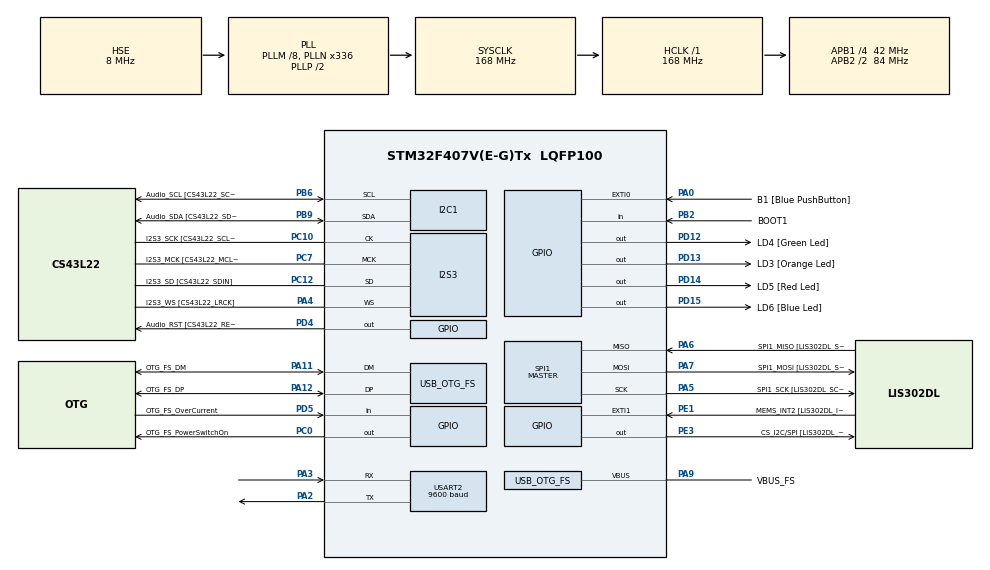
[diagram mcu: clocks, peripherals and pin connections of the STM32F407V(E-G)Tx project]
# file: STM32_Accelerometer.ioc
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I2S3.AudioFreq-Half_Duplex_Master=I2S_AUDIOFREQ_96K
I2S3.ErrorAudioFreq=-2.34 %
I2S3.ErrorAudioFreq-Half_Duplex_Master=0.8 %
I2S3.FullDuplexMode=I2S_FULLDUPLEXMODE_DISABLE
I2S3.Instance=SPI$Index
I2S3.RealAudioFreq=93.75 KHz
I2S3.RealAudioFreq-Half_Duplex_Master=96.774 KHz
I2S3.VirtualMode=I2S_MODE_MASTER
Mcu.Family=STM32F4
Mcu.Name=STM32F407V(E-G)Tx
Mcu.Package=LQFP100
NVIC.OTG_FS_IRQn=true\:0\:0\:false\:false\:true\:true\:true
NVIC.PriorityGroup=NVIC_PRIORITYGROUP_0
NVIC.USART2_IRQn=true\:0\:0\:false\:false\:true\:true\:true
PA0-WKUP.GPIO_Label=B1 [Blue PushButton]
PA0-WKUP.GPIO_ModeDefaultEXTI=GPIO_MODE_EVT_RISING
PA0-WKUP.GPIO_PuPd=GPIO_NOPULL
PA0-WKUP.Signal=GPXTI0
PA10.GPIO_Label=OTG_FS_ID
PA10.GPIO_Mode=GPIO_MODE_AF_PP
PA10.GPIO_PuPd=GPIO_NOPULL
PA10.GPIO_Speed=GPIO_SPEED_FREQ_LOW
PA10.Signal=USB_OTG_FS_ID
PA11.GPIO_Label=OTG_FS_DM
PA11.GPIO_Mode=GPIO_MODE_AF_PP
PA11.GPIO_PuPd=GPIO_NOPULL
PA11.GPIO_Speed=GPIO_SPEED_FREQ_LOW
PA11.Mode=Device_Only
PA11.Signal=USB_OTG_FS_DM
PA12.GPIO_Label=OTG_FS_DP
PA12.GPIO_Mode=GPIO_MODE_AF_PP
PA12.GPIO_PuPd=GPIO_NOPULL
PA12.GPIO_Speed=GPIO_SPEED_FREQ_LOW
PA12.Mode=Device_Only
PA12.Signal=USB_OTG_FS_DP
PA13.GPIO_Label=SWDIO
PA13.Mode=Serial_Wire
PA13.Signal=SYS_JTMS-SWDIO
PA14.GPIO_Label=SWCLK
PA14.Mode=Serial_Wire
PA14.Signal=SYS_JTCK-SWCLK
PA2.Mode=Asynchronous
PA2.Signal=USART2_TX
PA3.Mode=Asynchronous
PA3.Signal=USART2_RX
PA4.GPIO_Label=I2S3_WS [CS43L22_LRCK]
PA4.GPIO_Mode=GPIO_MODE_AF_PP
PA4.GPIO_PuPd=GPIO_NOPULL
PA4.GPIO_Speed=GPIO_SPEED_FREQ_LOW
PA4.Mode=Half_Duplex_Master
PA4.Signal=I2S3_WS
PA5.GPIO_Label=SPI1_SCK [LIS302DL_SCL/SPC]
PA5.GPIO_Mode=GPIO_MODE_AF_PP
PA5.GPIO_PuPd=GPIO_NOPULL
PA5.GPIO_Speed=GPIO_SPEED_FREQ_LOW
PA5.Mode=Full_Duplex_Master
PA5.Signal=SPI1_SCK
PA6.GPIO_Label=SPI1_MISO [LIS302DL_SDO]
PA6.GPIO_Mode=GPIO_MODE_AF_PP
PA6.GPIO_PuPd=GPIO_NOPULL
PA6.GPIO_Speed=GPIO_SPEED_FREQ_LOW
PA6.Mode=Full_Duplex_Master
PA6.Signal=SPI1_MISO
PA7.GPIO_Label=SPI1_MOSI [LIS302DL_SDA/SDI/SDO]
PA7.GPIO_Mode=GPIO_MODE_AF_PP
PA7.GPIO_PuPd=GPIO_NOPULL
PA7.GPIO_Speed=GPIO_SPEED_FREQ_LOW
PA7.Mode=Full_Duplex_Master
PA7.Signal=SPI1_MOSI
PA9.GPIO_Label=VBUS_FS
PA9.GPIO_Mode=GPIO_MODE_INPUT
PA9.GPIO_PuPd=GPIO_NOPULL
PA9.Mode=Activate_VBUS
PA9.Signal=USB_OTG_FS_VBUS
PB10.GPIO_Label=CLK_IN [MP45DT02_CLK]
PB10.GPIO_Mode=GPIO_MODE_AF_PP
PB10.GPIO_PuPd=GPIO_NOPULL
PB10.GPIO_Speed=GPIO_SPEED_FREQ_LOW
PB10.Signal=I2S2_CK
PB2.GPIO_Label=BOOT1
PB2.GPIO_Mode=GPIO_MODE_INPUT
PB2.GPIO_PuPd=GPIO_NOPULL
PB2.Signal=GPIO_Input
PB3.GPIO_Label=SWO
PB3.Signal=SYS_JTDO-SWO
PB6.GPIO_Label=Audio_SCL [CS43L22_SCL]
PB6.GPIO_Mode=GPIO_MODE_AF_OD
PB6.GPIO_Pu=GPIO_PULLUP
PB6.GPIO_PuPd=GPIO_NOPULL
PB6.GPIO_Speed=GPIO_SPEED_FREQ_LOW
PB6.Mode=I2C
PB6.Signal=I2C1_SCL
PB9.GPIO_Label=Audio_SDA [CS43L22_SDA]
PB9.GPIO_Mode=GPIO_MODE_AF_OD
PB9.GPIO_Pu=GPIO_PULLUP
PB9.GPIO_PuPd=GPIO_NOPULL
PB9.GPIO_Speed=GPIO_SPEED_FREQ_LOW
PB9.Mode=I2C
PB9.Signal=I2C1_SDA
PC0.GPIO_Label=OTG_FS_PowerSwitchOn
PC0.GPIO_PuPd=GPIO_NOPULL
PC0.GPIO_Speed=GPIO_SPEED_FREQ_LOW
PC0.PinState=GPIO_PIN_SET
PC0.Signal=GPIO_Output
PC10.GPIO_Label=I2S3_SCK [CS43L22_SCLK]
PC10.GPIO_Mode=GPIO_MODE_AF_PP
PC10.GPIO_PuPd=GPIO_NOPULL
PC10.GPIO_Speed=GPIO_SPEED_FREQ_LOW
PC10.Mode=Half_Duplex_Master
PC10.Signal=I2S3_CK
PC12.GPIO_Label=I2S3_SD [CS43L22_SDIN]
PC12.GPIO_Mode=GPIO_MODE_AF_PP
PC12.GPIO_PuPd=GPIO_NOPULL
PC12.GPIO_Speed=GPIO_SPEED_FREQ_LOW
PC12.Mode=Half_Duplex_Master
PC12.Signal=I2S3_SD
PC14-OSC32_IN.GPIO_Label=PC14-OSC32_IN
PC14-OSC32_IN.Mode=LSE-External-Oscillator
PC14-OSC32_IN.Signal=RCC_OSC32_IN
PC15-OSC32_OUT.GPIO_Label=PC15-OSC32_OUT
PC15-OSC32_OUT.Mode=LSE-External-Oscillator
PC15-OSC32_OUT.Signal=RCC_OSC32_OUT
PC3.GPIO_Label=PDM_OUT [MP45DT02_DOUT]
PC3.GPIO_Mode=GPIO_MODE_AF_PP
PC3.GPIO_PuPd=GPIO_NOPULL
PC3.GPIO_Speed=GPIO_SPEED_FREQ_LOW
PC3.Signal=I2S2_SD
PC7.GPIO_Label=I2S3_MCK [CS43L22_MCLK]
PC7.GPIO_Mode=GPIO_MODE_AF_PP
PC7.GPIO_PuPd=GPIO_NOPULL
PC7.GPIO_Speed=GPIO_SPEED_FREQ_LOW
PC7.Mode=Master_Clock_Activated
PC7.Signal=I2S3_MCK
PD12.GPIO_Label=LD4 [Green Led]
PD12.GPIO_PuPd=GPIO_NOPULL
PD12.GPIO_Speed=GPIO_SPEED_FREQ_LOW
PD12.Signal=GPIO_Output
PD13.GPIO_Label=LD3 [Orange Led]
PD13.GPIO_PuPd=GPIO_NOPULL
PD13.GPIO_Speed=GPIO_SPEED_FREQ_LOW
PD13.Signal=GPIO_Output
PD14.GPIO_Label=LD5 [Red Led]
PD14.GPIO_PuPd=GPIO_NOPULL
PD14.GPIO_Speed=GPIO_SPEED_FREQ_LOW
PD14.Signal=GPIO_Output
PD15.GPIO_Label=LD6 [Blue Led]
PD15.GPIO_PuPd=GPIO_NOPULL
PD15.GPIO_Speed=GPIO_SPEED_FREQ_LOW
PD15.Signal=GPIO_Output
PD4.GPIO_Label=Audio_RST [CS43L22_RESET]
PD4.GPIO_PuPd=GPIO_NOPULL
PD4.GPIO_Speed=GPIO_SPEED_FREQ_LOW
PD4.Signal=GPIO_Output
PD5.GPIO_Label=OTG_FS_OverCurrent
PD5.GPIO_Mode=GPIO_MODE_INPUT
PD5.GPIO_PuPd=GPIO_NOPULL
PD5.Signal=GPIO_Input
PE1.GPIO_Label=MEMS_INT2 [LIS302DL_INT2]
PE1.GPIO_ModeDefaultEXTI=GPIO_MODE_EVT_RISING
PE1.GPIO_PuPd=GPIO_NOPULL
PE1.Signal=GPXTI1
PE3.GPIO_Label=CS_I2C/SPI [LIS302DL_CS_I2C/SPI]
PE3.GPIO_PuPd=GPIO_NOPULL
PE3.GPIO_Speed=GPIO_SPEED_FREQ_LOW
PE3.Signal=GPIO_Output
PH0-OSC_IN.GPIO_Label=PH0-OSC_IN
PH0-OSC_IN.Mode=HSE-External-Oscillator
PH0-OSC_IN.Signal=RCC_OSC_IN
PH1-OSC_OUT.GPIO_Label=PH1-OSC_OUT
PH1-OSC_OUT.Mode=HSE-External-Oscillator
PH1-OSC_OUT.Signal=RCC_OSC_OUT
ProjectManager.HeapSize=0x200
ProjectManager.StackSize=0x400
ProjectManager.TargetToolchain=STM32CubeIDE
RCC.48MHZClocksFreq_Value=48000000
RCC.AHBFreq_Value=168000000
RCC.APB1CLKDivider=RCC_HCLK_DIV4
RCC.APB1Freq_Value=42000000
RCC.APB1TimFreq_Value=84000000
RCC.APB2CLKDivider=RCC_HCLK_DIV2
RCC.APB2Freq_Value=84000000
RCC.APB2TimFreq_Value=168000000
RCC.CortexFreq_Value=168000000
RCC.HCLKFreq_Value=168000000
RCC.HSE_VALUE=8000000
RCC.HSI_VALUE=16000000
RCC.PLLM=8
RCC.PLLN=336
RCC.PLLQ=7
RCC.SYSCLKFreq_VALUE=168000000
RCC.SYSCLKSource=RCC_SYSCLKSOURCE_PLLCLK
RCC.VCOOutputFreq_Value=336000000
SPI1.BaudRatePrescaler-Full_Duplex_Master=SPI_BAUDRATEPRESCALER_2
SPI1.CalculateBaudRate-Full_Duplex_Master=42.0 MBits/s
SPI1.Direction=SPI_DIRECTION_2LINES
SPI1.Mode=SPI_MODE_MASTER
SPI1.Mode-Full_Duplex_Master=SPI_MODE_MASTER
SPI1.VirtualType=VM_MASTER
USART2.BaudRate=9600
USART2.VirtualMode=VM_ASYNC
USB_DEVICE.CLASS_NAME_FS=CDC
USB_DEVICE.VirtualMode-CDC_FS=Cdc
USB_DEVICE.VirtualModeFS=Cdc_FS
USB_OTG_FS.VirtualMode=Device_Only
VP_USB_DEVICE_VS_USB_DEVICE_CDC_FS.Mode=CDC_FS
board=STM32F407G-DISC1

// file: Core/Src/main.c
/* USER CODE BEGIN Header */
/**
  ******************************************************************************
  * @file           : main.c
  * @brief          : Main program body
  ******************************************************************************
  * @attention
  *
  * <h2><center>&copy; Copyright (c) 2021 STMicroelectronics.
  * All rights reserved.</center></h2>
  *
  * This software component is licensed by ST under Ultimate Liberty license
  * SLA0044, the "License"; You may not use this file except in compliance with
  * the License. You may obtain a copy of the License at:
  *                             www.st.com/SLA0044
  *
  ******************************************************************************
  */
/* USER CODE END Header */
#include "main.h"
#include "usb_device.h"

/* USER CODE BEGIN Includes */

#include "usbd_cdc_if.h"
#include "stm32f4_discovery_accelerometer.h"

/* USER CODE END Includes */

I2C_HandleTypeDef hi2c1;

I2S_HandleTypeDef hi2s3;

SPI_HandleTypeDef hspi1;

UART_HandleTypeDef huart2;

void SystemClock_Config(void);
static void MX_GPIO_Init(void);
static void MX_I2S3_Init(void);
static void MX_SPI1_Init(void);
static void MX_I2C1_Init(void);
static void MX_USART2_UART_Init(void);

/* USER CODE BEGIN 0 */

static uint8_t rxData = 0;

void HAL_UART_RxCpltCallback(UART_HandleTypeDef *huart)
{
  if (huart == &huart2)
  {
    HAL_UART_Receive_IT(&huart2, &rxData, 1);
  }
}

static void sendChar(char c)
{
  uint16_t retries = 1000;
  while (retries)
  {
    if (CDC_Transmit_FS((uint8_t *)&c, 1) != USBD_OK)
    {
      retries--;
    }
    else
    {
      return;
    }
  }
}

#ifdef __GNUC__
int __io_putchar(int c)
#else
int fputc(int c, FILE *f)
#endif
{
  if (c == '\n') sendChar('\r');
  sendChar(c);
  return c;
}

/* USER CODE END 0 */

int main(void)
{

  /* MCU Configuration--------------------------------------------------------*/

  /* Reset of all peripherals, Initializes the Flash interface and the Systick. */
  HAL_Init();

  /* Configure the system clock */
  SystemClock_Config();

  /* Initialize all configured peripherals */
  MX_GPIO_Init();
  MX_I2S3_Init();
  MX_SPI1_Init();
  MX_USB_DEVICE_Init();
  MX_I2C1_Init();
  MX_USART2_UART_Init();
  /* USER CODE BEGIN 2 */

  int16_t xyzBuf[3] = {0};
  uint8_t txData[6] = {0}; // {X0, X1, Y0, Y1, Z0, Z1}
  HAL_StatusTypeDef status;
  uint32_t lastTimestamp = 0, now = 0;

  /* USER CODE END 2 */

  /* Infinite loop */
  /* USER CODE BEGIN WHILE */

  if (BSP_ACCELERO_Init() != ACCELERO_OK)
  {
    printf("BSP_ACCELERO_Init() ERROR!\n");
  }

  HAL_UART_Receive_IT(&huart2, &rxData, 1);

  while (1)
  {
    /* USER CODE END WHILE */

    /* USER CODE BEGIN 3 */

    if (rxData != 0)
    {
      if (rxData == 'g')
      {
        printf("Sending: x: %d, y: %d, z: %d\n", xyzBuf[0], xyzBuf[1], xyzBuf[2]);
        txData[0] = xyzBuf[0] & 0x00FF;
        txData[1] = xyzBuf[0] >> 8;
        txData[2] = xyzBuf[1] & 0x00FF;
        txData[3] = xyzBuf[1] >> 8;
        txData[4] = xyzBuf[2] & 0x00FF;
        txData[5] = xyzBuf[2] >> 8;

        status = HAL_UART_Transmit(&huart2, txData, sizeof(txData), 1000);
        printf("transmit status: %d\n", status);
      }

      rxData = 0;
    }

    BSP_ACCELERO_GetXYZ(xyzBuf);

    now = HAL_GetTick();
    if (now - lastTimestamp >= 1000)
    {
      lastTimestamp = now;
      HAL_GPIO_TogglePin(LD6_GPIO_Port, LD6_Pin);
    }
    HAL_Delay(100);
  }
  /* USER CODE END 3 */
}

void SystemClock_Config(void)
{
  RCC_OscInitTypeDef RCC_OscInitStruct = {0};
  RCC_ClkInitTypeDef RCC_ClkInitStruct = {0};

  /** Configure the main internal regulator output voltage
  */
  __HAL_RCC_PWR_CLK_ENABLE();
  __HAL_PWR_VOLTAGESCALING_CONFIG(PWR_REGULATOR_VOLTAGE_SCALE1);
  /** Initializes the RCC Oscillators according to the specified parameters
  * in the RCC_OscInitTypeDef structure.
  */
  RCC_OscInitStruct.OscillatorType = RCC_OSCILLATORTYPE_HSE;
  RCC_OscInitStruct.HSEState = RCC_HSE_ON;
  RCC_OscInitStruct.PLL.PLLState = RCC_PLL_ON;
  RCC_OscInitStruct.PLL.PLLSource = RCC_PLLSOURCE_HSE;
  RCC_OscInitStruct.PLL.PLLM = 8;
  RCC_OscInitStruct.PLL.PLLN = 336;
  RCC_OscInitStruct.PLL.PLLP = RCC_PLLP_DIV2;
  RCC_OscInitStruct.PLL.PLLQ = 7;
  if (HAL_RCC_OscConfig(&RCC_OscInitStruct) != HAL_OK)
  {
    Error_Handler();
  }
  /** Initializes the CPU, AHB and APB buses clocks
  */
  RCC_ClkInitStruct.ClockType = RCC_CLOCKTYPE_HCLK|RCC_CLOCKTYPE_SYSCLK
                              |RCC_CLOCKTYPE_PCLK1|RCC_CLOCKTYPE_PCLK2;
  RCC_ClkInitStruct.SYSCLKSource = RCC_SYSCLKSOURCE_PLLCLK;
  RCC_ClkInitStruct.AHBCLKDivider = RCC_SYSCLK_DIV1;
  RCC_ClkInitStruct.APB1CLKDivider = RCC_HCLK_DIV4;
  RCC_ClkInitStruct.APB2CLKDivider = RCC_HCLK_DIV2;

  if (HAL_RCC_ClockConfig(&RCC_ClkInitStruct, FLASH_LATENCY_5) != HAL_OK)
  {
    Error_Handler();
  }
}

static void MX_I2C1_Init(void)
{

  hi2c1.Instance = I2C1;
  hi2c1.Init.ClockSpeed = 100000;
  hi2c1.Init.DutyCycle = I2C_DUTYCYCLE_2;
  hi2c1.Init.OwnAddress1 = 0;
  hi2c1.Init.AddressingMode = I2C_ADDRESSINGMODE_7BIT;
  hi2c1.Init.DualAddressMode = I2C_DUALADDRESS_DISABLE;
  hi2c1.Init.OwnAddress2 = 0;
  hi2c1.Init.GeneralCallMode = I2C_GENERALCALL_DISABLE;
  hi2c1.Init.NoStretchMode = I2C_NOSTRETCH_DISABLE;
  if (HAL_I2C_Init(&hi2c1) != HAL_OK)
  {
    Error_Handler();
  }

}

static void MX_I2S3_Init(void)
{

  hi2s3.Instance = SPI3;
  hi2s3.Init.Mode = I2S_MODE_MASTER_TX;
  hi2s3.Init.Standard = I2S_STANDARD_PHILIPS;
  hi2s3.Init.DataFormat = I2S_DATAFORMAT_16B;
  hi2s3.Init.MCLKOutput = I2S_MCLKOUTPUT_ENABLE;
  hi2s3.Init.AudioFreq = I2S_AUDIOFREQ_96K;
  hi2s3.Init.CPOL = I2S_CPOL_LOW;
  hi2s3.Init.ClockSource = I2S_CLOCK_PLL;
  hi2s3.Init.FullDuplexMode = I2S_FULLDUPLEXMODE_DISABLE;
  if (HAL_I2S_Init(&hi2s3) != HAL_OK)
  {
    Error_Handler();
  }

}

static void MX_SPI1_Init(void)
{

  /* SPI1 parameter configuration*/
  hspi1.Instance = SPI1;
  hspi1.Init.Mode = SPI_MODE_MASTER;
  hspi1.Init.Direction = SPI_DIRECTION_2LINES;
  hspi1.Init.DataSize = SPI_DATASIZE_8BIT;
  hspi1.Init.CLKPolarity = SPI_POLARITY_LOW;
  hspi1.Init.CLKPhase = SPI_PHASE_1EDGE;
  hspi1.Init.NSS = SPI_NSS_SOFT;
  hspi1.Init.BaudRatePrescaler = SPI_BAUDRATEPRESCALER_2;
  hspi1.Init.FirstBit = SPI_FIRSTBIT_MSB;
  hspi1.Init.TIMode = SPI_TIMODE_DISABLE;
  hspi1.Init.CRCCalculation = SPI_CRCCALCULATION_DISABLE;
  hspi1.Init.CRCPolynomial = 10;
  if (HAL_SPI_Init(&hspi1) != HAL_OK)
  {
    Error_Handler();
  }

}

static void MX_USART2_UART_Init(void)
{

  huart2.Instance = USART2;
  huart2.Init.BaudRate = 9600;
  huart2.Init.WordLength = UART_WORDLENGTH_8B;
  huart2.Init.StopBits = UART_STOPBITS_1;
  huart2.Init.Parity = UART_PARITY_NONE;
  huart2.Init.Mode = UART_MODE_TX_RX;
  huart2.Init.HwFlowCtl = UART_HWCONTROL_NONE;
  huart2.Init.OverSampling = UART_OVERSAMPLING_16;
  if (HAL_UART_Init(&huart2) != HAL_OK)
  {
    Error_Handler();
  }

}

static void MX_GPIO_Init(void)
{
  GPIO_InitTypeDef GPIO_InitStruct = {0};

  /* GPIO Ports Clock Enable */
  __HAL_RCC_GPIOE_CLK_ENABLE();
  __HAL_RCC_GPIOC_CLK_ENABLE();
  __HAL_RCC_GPIOH_CLK_ENABLE();
  __HAL_RCC_GPIOA_CLK_ENABLE();
  __HAL_RCC_GPIOB_CLK_ENABLE();
  __HAL_RCC_GPIOD_CLK_ENABLE();

  /*Configure GPIO pin Output Level */
  HAL_GPIO_WritePin(CS_I2C_SPI_GPIO_Port, CS_I2C_SPI_Pin, GPIO_PIN_RESET);

  /*Configure GPIO pin Output Level */
  HAL_GPIO_WritePin(OTG_FS_PowerSwitchOn_GPIO_Port, OTG_FS_PowerSwitchOn_Pin, GPIO_PIN_SET);

  /*Configure GPIO pin Output Level */
  HAL_GPIO_WritePin(GPIOD, LD4_Pin|LD3_Pin|LD5_Pin|LD6_Pin
                          |Audio_RST_Pin, GPIO_PIN_RESET);

  /*Configure GPIO pin : CS_I2C_SPI_Pin */
  GPIO_InitStruct.Pin = CS_I2C_SPI_Pin;
  GPIO_InitStruct.Mode = GPIO_MODE_OUTPUT_PP;
  GPIO_InitStruct.Pull = GPIO_NOPULL;
  GPIO_InitStruct.Speed = GPIO_SPEED_FREQ_LOW;
  HAL_GPIO_Init(CS_I2C_SPI_GPIO_Port, &GPIO_InitStruct);

  /*Configure GPIO pin : OTG_FS_PowerSwitchOn_Pin */
  GPIO_InitStruct.Pin = OTG_FS_PowerSwitchOn_Pin;
  GPIO_InitStruct.Mode = GPIO_MODE_OUTPUT_PP;
  GPIO_InitStruct.Pull = GPIO_NOPULL;
  GPIO_InitStruct.Speed = GPIO_SPEED_FREQ_LOW;
  HAL_GPIO_Init(OTG_FS_PowerSwitchOn_GPIO_Port, &GPIO_InitStruct);

  /*Configure GPIO pin : PDM_OUT_Pin */
  GPIO_InitStruct.Pin = PDM_OUT_Pin;
  GPIO_InitStruct.Mode = GPIO_MODE_AF_PP;
  GPIO_InitStruct.Pull = GPIO_NOPULL;
  GPIO_InitStruct.Speed = GPIO_SPEED_FREQ_LOW;
  GPIO_InitStruct.Alternate = GPIO_AF5_SPI2;
  HAL_GPIO_Init(PDM_OUT_GPIO_Port, &GPIO_InitStruct);

  /*Configure GPIO pin : B1_Pin */
  GPIO_InitStruct.Pin = B1_Pin;
  GPIO_InitStruct.Mode = GPIO_MODE_EVT_RISING;
  GPIO_InitStruct.Pull = GPIO_NOPULL;
  HAL_GPIO_Init(B1_GPIO_Port, &GPIO_InitStruct);

  /*Configure GPIO pin : BOOT1_Pin */
  GPIO_InitStruct.Pin = BOOT1_Pin;
  GPIO_InitStruct.Mode = GPIO_MODE_INPUT;
  GPIO_InitStruct.Pull = GPIO_NOPULL;
  HAL_GPIO_Init(BOOT1_GPIO_Port, &GPIO_InitStruct);

  /*Configure GPIO pin : CLK_IN_Pin */
  GPIO_InitStruct.Pin = CLK_IN_Pin;
  GPIO_InitStruct.Mode = GPIO_MODE_AF_PP;
  GPIO_InitStruct.Pull = GPIO_NOPULL;
  GPIO_InitStruct.Speed = GPIO_SPEED_FREQ_LOW;
  GPIO_InitStruct.Alternate = GPIO_AF5_SPI2;
  HAL_GPIO_Init(CLK_IN_GPIO_Port, &GPIO_InitStruct);

  /*Configure GPIO pins : LD4_Pin LD3_Pin LD5_Pin LD6_Pin
                           Audio_RST_Pin */
  GPIO_InitStruct.Pin = LD4_Pin|LD3_Pin|LD5_Pin|LD6_Pin
                          |Audio_RST_Pin;
  GPIO_InitStruct.Mode = GPIO_MODE_OUTPUT_PP;
  GPIO_InitStruct.Pull = GPIO_NOPULL;
  GPIO_InitStruct.Speed = GPIO_SPEED_FREQ_LOW;
  HAL_GPIO_Init(GPIOD, &GPIO_InitStruct);

  /*Configure GPIO pin : OTG_FS_OverCurrent_Pin */
  GPIO_InitStruct.Pin = OTG_FS_OverCurrent_Pin;
  GPIO_InitStruct.Mode = GPIO_MODE_INPUT;
  GPIO_InitStruct.Pull = GPIO_NOPULL;
  HAL_GPIO_Init(OTG_FS_OverCurrent_GPIO_Port, &GPIO_InitStruct);

  /*Configure GPIO pin : MEMS_INT2_Pin */
  GPIO_InitStruct.Pin = MEMS_INT2_Pin;
  GPIO_InitStruct.Mode = GPIO_MODE_EVT_RISING;
  GPIO_InitStruct.Pull = GPIO_NOPULL;
  HAL_GPIO_Init(MEMS_INT2_GPIO_Port, &GPIO_InitStruct);

}

void Error_Handler(void)
{
  __disable_irq();
  while (1)
  {
  }
}

/************************ (C) COPYRIGHT STMicroelectronics *****END OF FILE****/
